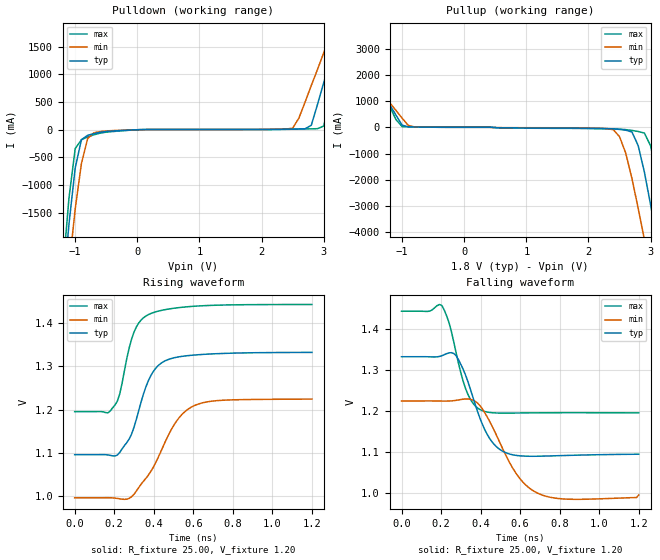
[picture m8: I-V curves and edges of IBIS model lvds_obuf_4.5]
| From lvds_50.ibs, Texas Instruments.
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|   Model lvds_obuf_4.5
[Model]   lvds_obuf_4.5
Model_type   Output
Polarity   Non-Inverting
Vmeas =   1.2000V
C_comp   4.00pF   4.00pF   4.00pF
[Temperature Range]   25.00   0.12k   -40.00
[Voltage Range]   1.80V   1.65V   1.95V
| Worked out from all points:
|   slope of the pulldown table from 0 to 0.27 V, typ, clamps not added: 65.9 ohm
|   slope of the pullup table from 0 to 0.27 V, typ, clamps not added: 20 kohm
|   rising waveform, R_fixture 25.00, V_fixture 1.20: 20-80 % time 106ps typ, 163ps min, 83.1ps max; typ from 1.09 V to 1.33 V
|   falling waveform, R_fixture 25.00, V_fixture 1.20: 20-80 % time 108ps typ, 148ps min, 79.8ps max; typ from 1.33 V to 1.09 V
[Pulldown]
| voltage   I(typ)   I(min)   I(max)
-1.8V     -11.2A     -11.5A     -11.55A
-1.2V     -2.94A     -3.65A     -2.55A
-1.1V     -1.7A      -2.49A     -1.23A
-1V       -690mA     -1.43A     -340mA
-900mV    -180mA     -610mA     -180mA
-800mV    -100mA     -160mA     -130mA
2.5V      12.42mA    28.44mA    9.47mA
2.8V      81.17mA    800mA      16.38mA
3V        850mA      1.39A      67.54mA
3.2V      1.64A      2A         1.04A
3.4V      2.44A      2.87A      2.05A
3.6V      3.26A      7.07A      3.07A
[Pullup]
| voltage   I(typ)   I(min)   I(max)
-1.8V     3.24A      3.32A      3.83A
-1.6V     2.43A      2.15A      2.81A
-1V       81.79mA    350mA      27.41mA
2.4V      -61.08mA   -92.19mA   -62.98mA
2.5V      -82.07mA   -360mA     -70.93mA
2.7V      -180mA     -1.96A     -120mA
2.9V      -1.71A     -4.28A     -220mA
3V        -2.96A     -5.52A     -710mA
3.1V      -4.28A     -6.77A     -1.87A
3.2V      -5.65A     -8.05A     -3.28A
3.3V      -7.03A     -9.34A     -4.75A
3.6V      -11.27A    -15.13A    -9.32A
[Ramp]
| variable   typ   min   max
dV/dt_r   0.41/0.12n   0.26/0.16n   0.54/99.79p
dV/dt_f   78.74m/70.12p   77.46m/0.11n   89.06m/53.13p
R_load = 25.00
[Rising Waveform]
R_fixture = 25.00
V_fixture = 1.20
V_fixture_min = 1.10
V_fixture_max = 1.30
| time   V(typ)   V(min)   V(max)
0s        1.095V     995.5mV    1.195V
168ps     1.095V     995.7mV    1.193V
204ps     1.093V     994.7mV    1.211V
228ps     1.101V     993.1mV    1.236V
276ps     1.132V     994.3mV    1.343V
300ps     1.159V     1.004V     1.379V
384ps     1.278V     1.056V     1.422V
504ps     1.32V      1.165V     1.435V
600ps     1.326V     1.208V     1.439V
1.2ns     1.333V     1.224V     1.444V
[Falling Waveform]
R_fixture = 25.00
V_fixture = 1.20
V_fixture_min = 1.10
V_fixture_max = 1.30
| time   V(typ)   V(min)   V(max)
0s        1.333V     1.225V     1.444V
204ps     1.336V     1.225V     1.458V
240ps     1.343V     1.225V     1.417V
288ps     1.326V     1.228V     1.317V
348ps     1.254V     1.229V     1.23V
408ps     1.169V     1.206V     1.202V
504ps     1.105V     1.117V     1.196V
588ps     1.092V     1.042V     1.196V
672ps     1.09V      1.004V     1.196V
1.2ns     1.095V     995.5mV    1.196V
